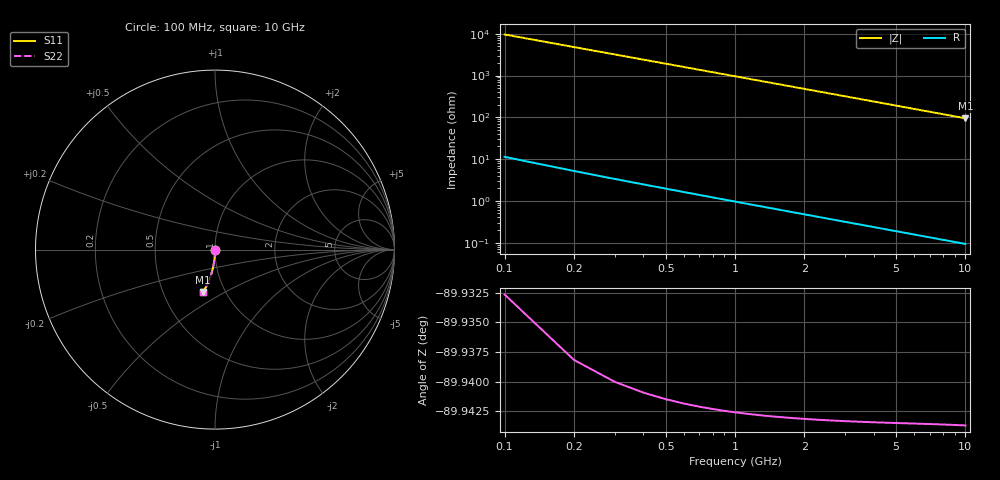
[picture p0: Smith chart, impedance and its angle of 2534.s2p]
# Hz S RI R 50.00
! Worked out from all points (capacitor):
!   100 points, 100 MHz to 10 GHz, reference 50 ohm
!   read as one part in shunt: C = 166 fF near 100 MHz
!   lowest |Z| = 94.7 ohm at 10 GHz (marker M1)
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1e8  1.34e-05 -0.00249  1 -0.00272  1 -0.00272  1.34e-05 -0.00249
2e8  -9.31e-06 -0.00497  0.9999 -0.00544  0.9999 -0.00544  -9.31e-06 -0.00497
3e8  -4.56e-05 -0.00746  0.9999 -0.00816  0.9999 -0.00816  -4.56e-05 -0.00746
4e8  -9.54e-05 -0.00995  0.9999 -0.0109  0.9999 -0.0109  -9.54e-05 -0.00995
5e8  -0.000159 -0.0124  0.9998 -0.0136  0.9998 -0.0136  -0.000159 -0.0124
6e8  -0.000236 -0.0149  0.9997 -0.0163  0.9997 -0.0163  -0.000236 -0.0149
7e8  -0.000326 -0.0174  0.9996 -0.019  0.9996 -0.019  -0.000326 -0.0174
8e8  -0.00043 -0.0199  0.9995 -0.0218  0.9995 -0.0218  -0.00043 -0.0199
9e8  -0.000548 -0.0224  0.9994 -0.0245  0.9994 -0.0245  -0.000548 -0.0224
1.1e9  -0.000824 -0.0274  0.9991 -0.0299  0.9991 -0.0299  -0.000824 -0.0274
1.4e9  -0.00134 -0.0348  0.9986 -0.0381  0.9986 -0.0381  -0.00134 -0.0348
1.8e9  -0.00222 -0.0448  0.9977 -0.049  0.9977 -0.049  -0.00222 -0.0448
2.1e9  -0.00302 -0.0522  0.9969 -0.0571  0.9969 -0.0571  -0.00302 -0.0522
2.5e9  -0.00428 -0.0621  0.9957 -0.068  0.9957 -0.068  -0.00428 -0.0621
2.9e9  -0.00576 -0.072  0.9942 -0.0788  0.9942 -0.0788  -0.00576 -0.072
3.4e9  -0.00791 -0.0843  0.992 -0.0923  0.992 -0.0923  -0.00791 -0.0843
4.2e9  -0.012 -0.1039  0.9879 -0.1138  0.9879 -0.1138  -0.012 -0.1039
5.1e9  -0.0177 -0.1256  0.9822 -0.1377  0.9822 -0.1377  -0.0177 -0.1256
5.9e9  -0.0236 -0.1446  0.9762 -0.1586  0.9762 -0.1586  -0.0236 -0.1446
6.7e9  -0.0303 -0.1632  0.9695 -0.1792  0.9695 -0.1792  -0.0303 -0.1632
8.4e9  -0.0471 -0.2015  0.9527 -0.2216  0.9527 -0.2216  -0.0471 -0.2015
1e10  -0.0656 -0.2354  0.934 -0.2595  0.934 -0.2595  -0.0656 -0.2354
